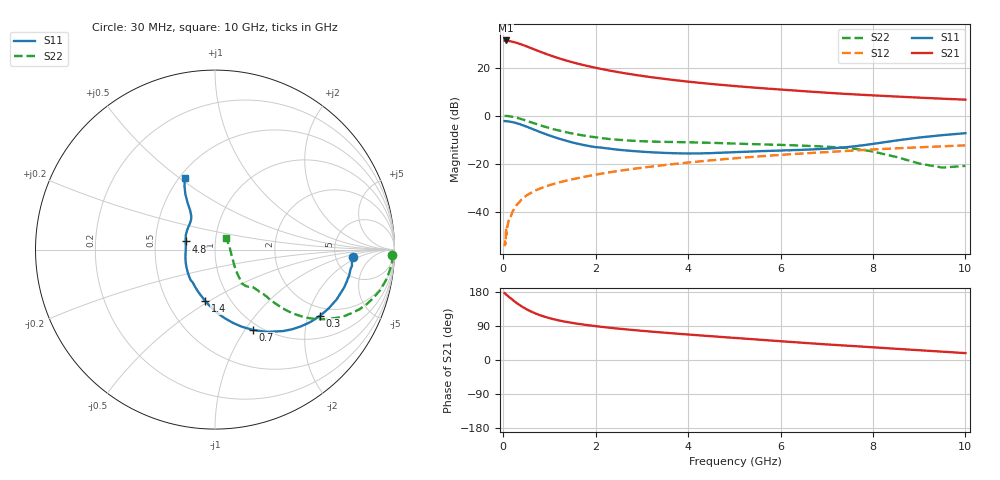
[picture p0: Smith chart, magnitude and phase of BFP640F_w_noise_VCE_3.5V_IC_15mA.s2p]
! Infineon Technologies  Discrete & RF Semiconductors
! BFP640F
! VCE =  3.5 V,  IC =  15 mA
! Common Emitter S-Parameters:  Apr 2013
# GHz  S  MA  R  50
!  f  S11  S21  S12  S22
! GHz  MAG  ANG  MAG  ANG  MAG  ANG  MAG  ANG
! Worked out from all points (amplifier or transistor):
!   99 points, 30 MHz to 10 GHz, reference 50 ohm
!   highest |S21| = 31.3 dB at 50 MHz (marker M1)
!   |S21| within 3 dB of that: start of sweep to 576 MHz
!   unconditionally stable (mu >= 1): 2.546 GHz to end of sweep
!   at 350 MHz: K = 0.30, MSG = 33.0 dB, |S12| = -36.1 dB
!   at 3.5 GHz: K = 1.05, MAG = 16.6 dB, |S12| = -20.6 dB
!   at 10 GHz: K = 1.06, MAG = 8.1 dB, |S12| = -12.4 dB
!   lowest NFmin = 0.74 dB at 450 MHz
!   S11 on the Smith chart (normalised r, x): 30 MHz: 7.39, -1.57; 300 MHz: 1.68, -2.38; 700 MHz: 0.92, -1.09; 1.4 GHz: 0.77, -0.48; 4.8 GHz: 0.72, +0.07; 10 GHz: 0.54, +0.52
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0.03  0.7708 -3.2  36.58 176.4  0.0019 71.9  0.9874 -1.7
0.05  0.7656 -5.5  36.91 174.4  0.0021 94.1  0.9865 -3.2
0.06  0.7689 -6.7  36.69 173.1  0.0046 87.1  0.9896 -4.0
0.15  0.7478 -16.9  35.62 163.9  0.0072 79.8  0.9654 -10.5
0.25  0.7133 -27.3  33.71 154.2  0.012 78.1  0.9235 -16.9
0.3  0.6909 -32.4  32.68 149.7  0.0141 75.5  0.8981 -19.8
0.4  0.642 -41.8  30.34 141.4  0.018 73.1  0.8409 -24.8
0.5  0.5917 -50.1  27.91 134.3  0.0216 70.6  0.7843 -28.9
0.6  0.5424 -57.7  25.59 128.1  0.0245 69.3  0.7277 -32.2
0.7  0.4958 -64.6  23.47 122.7  0.0276 68.0  0.677 -34.8
0.8  0.4546 -70.9  21.52 118.0  0.0303 66.7  0.6305 -36.9
1  0.3856 -82.0  18.28 110.5  0.0354 64.9  0.5517 -39.6
1.2  0.3326 -91.7  15.74 104.6  0.0404 64.6  0.4908 -41.1
1.4  0.2927 -100.6  13.77 99.9  0.0449 63.8  0.443 -41.9
1.7  0.2488 -113.1  11.56 94.1  0.0519 63.3  0.3902 -42.2
2.4  0.1992 -139.2  8.361 83.9  0.0681 61.8  0.3188 -44.0
3.4  0.1688 -167.5  5.98 73.0  0.0912 58.5  0.285 -46.4
4.8  0.1701 164.4  4.311 60.1  0.1242 52.8  0.2654 -49.7
5.1  0.1745 159.8  4.073 57.5  0.1312 51.4  0.2602 -50.2
6.7  0.198 136.7  3.141 43.6  0.1674 43.3  0.2321 -51.4
8.5  0.3029 120.3  2.503 29.6  0.2081 33.9  0.1377 -39.0
10  0.4307 113.0  2.152 18.2  0.24 25.5  0.0896 45.3
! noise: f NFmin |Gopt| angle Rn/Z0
0.45  0.74  0.06  6  0.05
0.9  0.75  0.06  19  0.06
1.5  0.76  0.05  35  0.07
1.9  0.77  0.05  51  0.07
2.4  0.79  0.04  76  0.08
3.5  0.88  0.05  131  0.09
5.5  1.07  0.14  -142  0.12
10  1.56  0.4  -93  0.36
